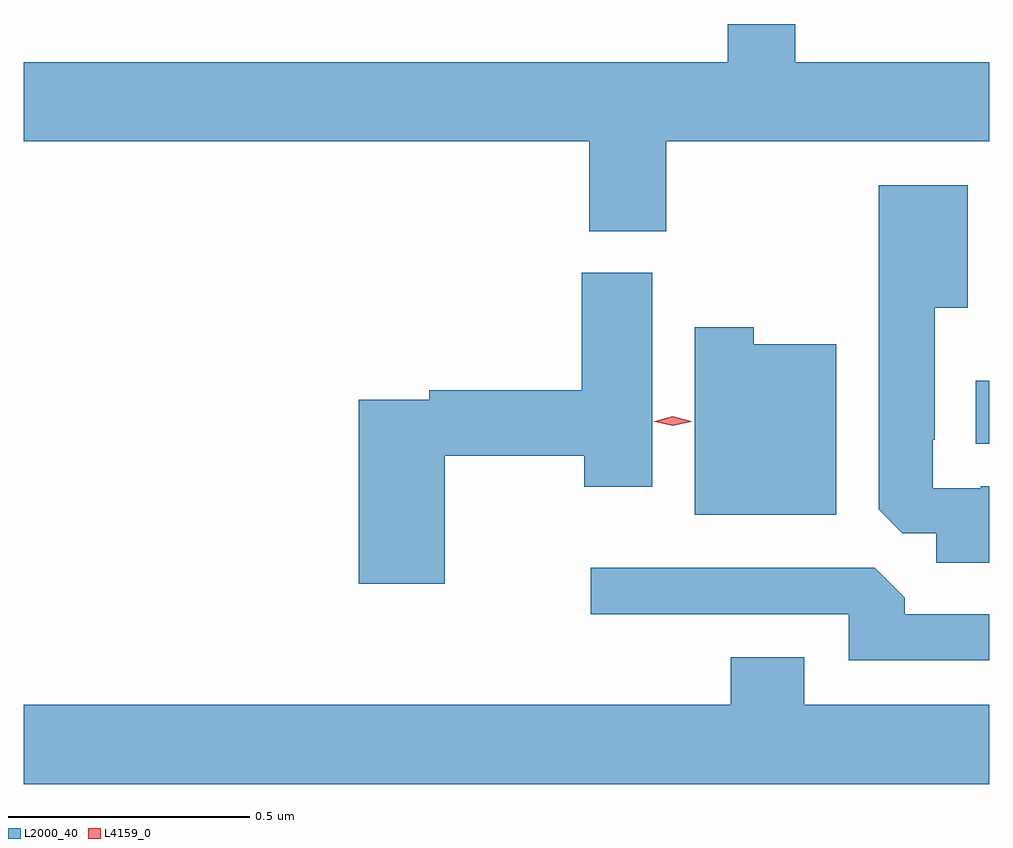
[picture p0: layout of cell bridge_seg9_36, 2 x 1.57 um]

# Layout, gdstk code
import gdstk
lib = gdstk.Library(unit=1e-6, precision=1e-09)
def R(c, l, rs):  # rectangles x0, y0, x1, y1
    for r in rs: c.add(gdstk.rectangle(r[:2], r[2:], *l))
def P(c, l, *ps):  # polygons
    for p in ps: c.add(gdstk.Polygon(p, *l))
L2000_40 = (2000, 40)
L4159_0 = (4159, 0)

bridge_seg9_36 = lib.new_cell('bridge_seg9_36')
R(bridge_seg9_36, L2000_40, [(978.02,1214.441,978.048,1214.572)])
P(bridge_seg9_36, L2000_40, [(977.379,1215.068),(978.048,1215.068),(978.048,1215.232),(977.646,1215.232),(977.646,1215.311),(977.507,1215.311),(977.507,1215.232),(976.048,1215.232),(976.048,1215.068),(977.219,1215.068),(977.219,1214.881),(977.379,1214.881)],
  [(978.048,1214.353),(978.031,1214.353),(978.031,1214.349),(977.931,1214.349),(977.931,1214.449),(977.935,1214.449),(977.935,1214.723),(978.004,1214.723),(978.004,1214.977),(977.819,1214.977),(977.819,1214.305),(977.868,1214.256),(977.939,1214.256),(977.939,1214.195),(978.048,1214.195)],
  [(976.92,1214.416),(977.209,1214.416),(977.209,1214.352),(977.35,1214.352),(977.35,1214.796),(977.204,1214.796),(977.204,1214.552),(976.888,1214.552),(976.888,1214.532),(976.742,1214.532),(976.742,1214.151),(976.92,1214.151)],
  [(977.731,1214.647),(977.56,1214.647),(977.56,1214.683),(977.438,1214.683),(977.438,1214.294),(977.731,1214.294)],
  [(978.048,1214.088),(977.873,1214.088),(977.873,1214.122),(977.811,1214.184),(977.223,1214.184),(977.223,1214.088),(977.757,1214.088),(977.757,1213.992),(978.048,1213.992)],
  [(978.048,1213.9),(977.665,1213.9),(977.665,1213.999),(977.513,1213.999),(977.513,1213.9),(976.048,1213.9),(976.048,1213.736),(978.048,1213.736)])
P(bridge_seg9_36, L4159_0, [(977.393,1214.478),(977.355,1214.487),(977.354,1214.488),(977.355,1214.488),(977.393,1214.498),(977.431,1214.488),(977.431,1214.488),(977.431,1214.487)])

lib.write_gds('bridge_seg9_36.gds')
